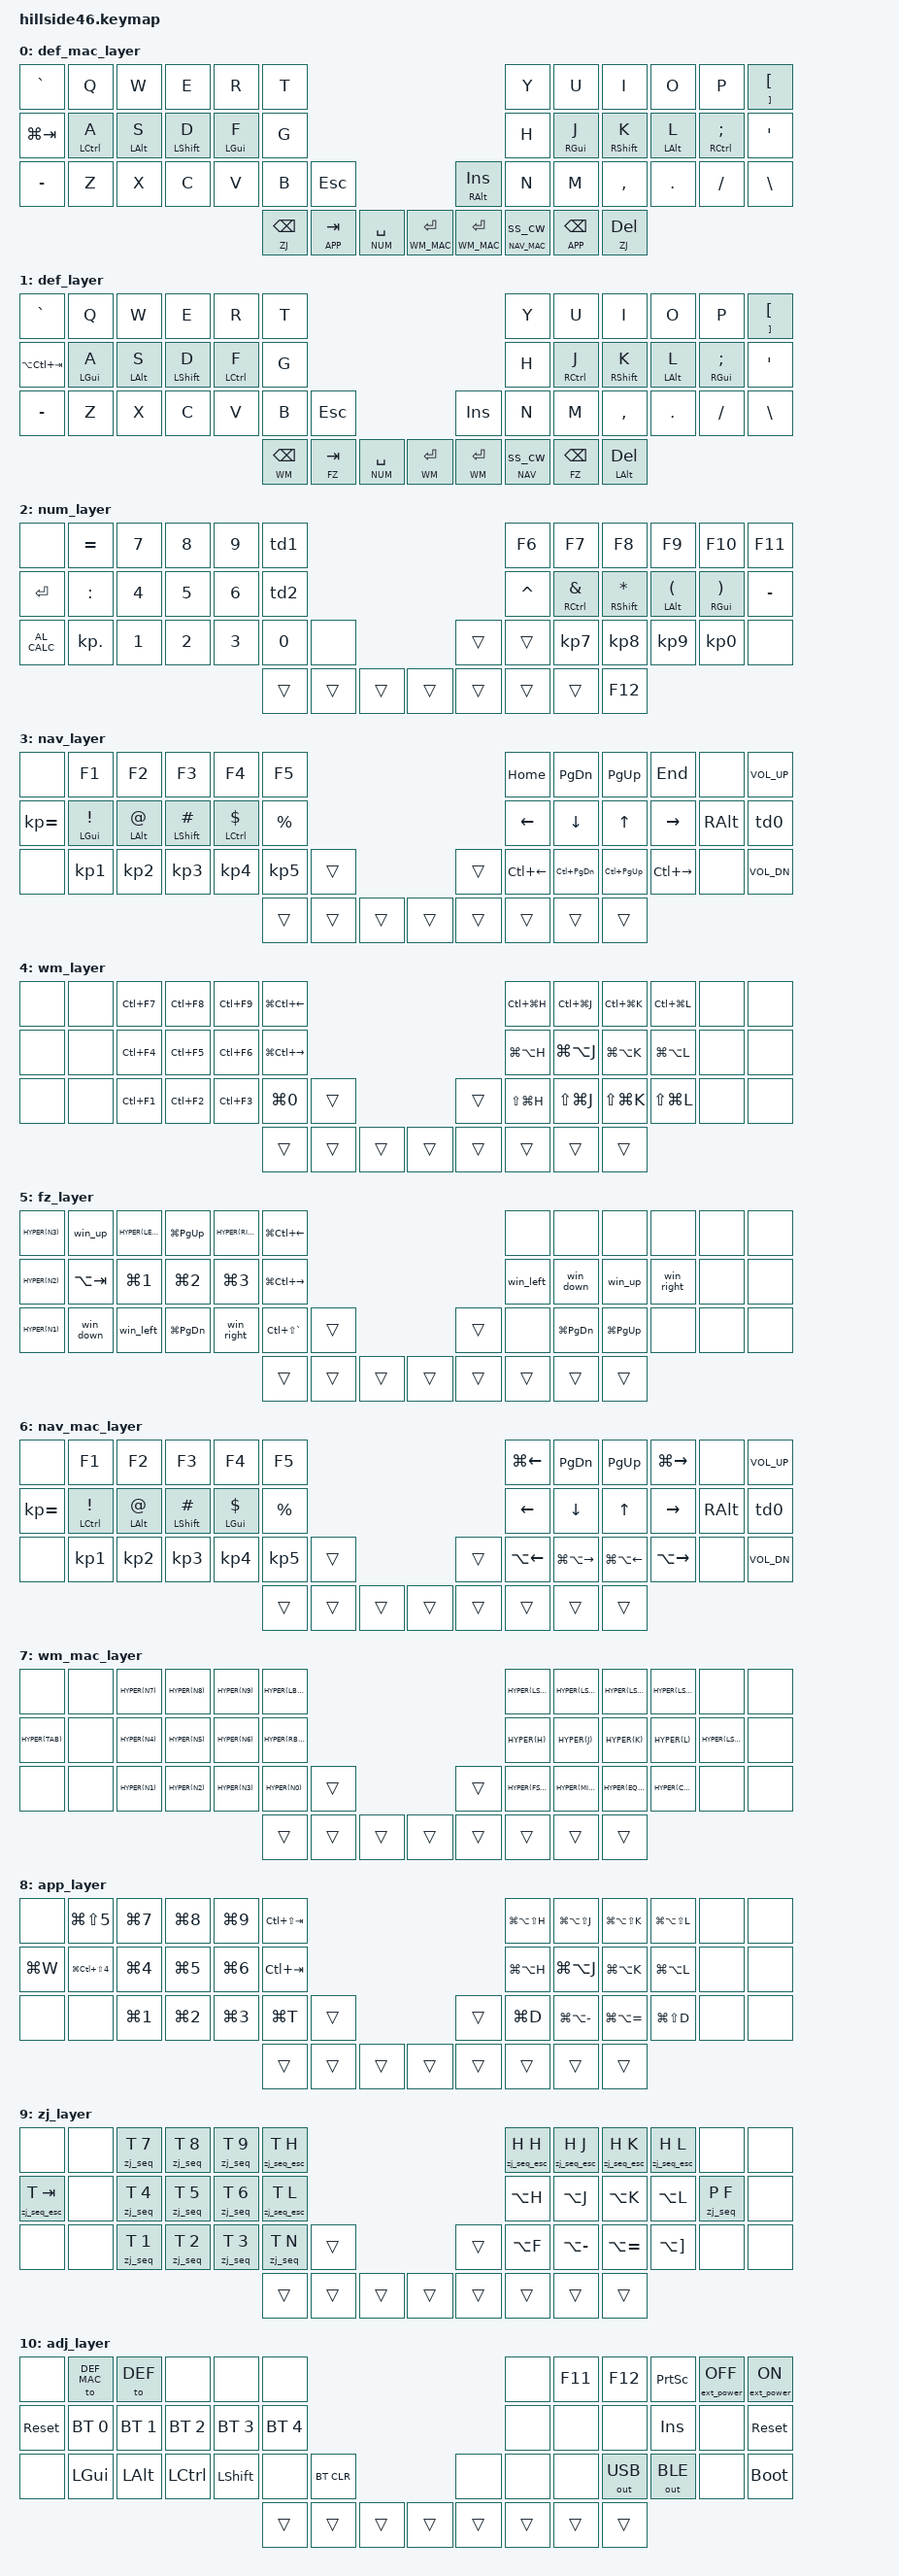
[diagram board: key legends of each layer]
/*
 * Copyright (c) 2021-2022 The ZMK Contributors
 *
 * SPDX-License-Identifier: MIT
 */

#include <behaviors.dtsi>
#include <dt-bindings/zmk/bt.h>
#include <dt-bindings/zmk/ext_power.h>
#include <dt-bindings/zmk/keys.h>
#include <dt-bindings/zmk/outputs.h>

// layer shortcuts, must match order in which they are defined below
// bases (DEF_MAC, DEF) are lowest so momentary/overlay layers stack above them;
// ADJ is highest so it shows above NAV_MAC when reached via NUM+NAV_MAC.
// DEF_MAC is layer 0 so the keyboard boots into mac mode by default.
#define DEF_MAC 0
#define DEF 1
#define NUM 2
#define NAV 3
#define WM 4
#define FZ 5
#define NAV_MAC 6
#define WM_MAC 7
#define APP 8
#define ZJ 9
#define ADJ 10

#define Undo   LC(Z)
#define Redo   LC(Y)
#define Cut    LS(DEL)
#define Copy   LC(INS)
#define Paste  LS(INS)

/* Hyper = Ctrl+Opt+Cmd (mac AeroSpace) / Ctrl+Alt+Win (FancyZones) - same three mods.
 * Use HYPER(key) instead of spelling LC(LA(LG(key))) by hand. */
#define HYPER(k) LC(LA(LG(k)))

#define XXX &none
#define ___ &trans

/* Settings */
#define QUICK_TAP_MS 175

#include "combos.dtsi"

&mt {
    flavor = "balanced";
};
&sk {
    quick-release;
};
&caps_word {
    // Allow caps word to continue even when minus, delete, left or underscore are pressed.
    continue-list = <UNDERSCORE MINUS BACKSPACE DELETE LEFT>;
};

/ {
        conditional_layers {
            compatible = "zmk,conditional-layers";
            tri_layer {
                if-layers = <2 3>;
                then-layer = <10>;
            };
            // mac: NUM + NAV_MAC also reaches ADJ
            tri_layer_mac {
                if-layers = <2 6>;
                then-layer = <10>;
            };
        };
        behaviors {
                td0: td_ply_nxt {
                        compatible = "zmk,behavior-tap-dance";
                        label = "TD_PLY_NXT";
                        #binding-cells = <0>;
                        tapping-term-ms = <280>;
                        bindings = <&kp C_PLAY_PAUSE>, <&kp C_NEXT>, <&kp C_PREV>;
                };
                td1: td_mns_sls {
                        compatible = "zmk,behavior-tap-dance";
                        label = "TD_MNS_SLS";
                        #binding-cells = <0>;
                        tapping-term-ms = <200>;
                        bindings = <&kp KP_MINUS>, <&kp KP_SLASH>;
                };
                td2: td_pls_ast {
                        compatible = "zmk,behavior-tap-dance";
                        label = "TD_PLS_AST";
                        #binding-cells = <0>;
                        tapping-term-ms = <200>;
                        bindings = <&kp KP_PLUS>, <&kp KP_ASTERISK>;
                };
                gresc: grave_escape {
                        compatible = "zmk,behavior-mod-morph";
                        label = "GRAVE_ESCAPE";
                        #binding-cells = <0>;
                        bindings = <&kp ESC>, <&kp GRAVE>;
                        mods = <(MOD_LSFT|MOD_RSFT)>;
                        keep-mods = <MOD_RSFT>;
                };
                // Home-row mods, positional ("Miryoku/urob" style): split into a
                // left- and right-hand variant so each only triggers its hold when
                // the *next* key is on the OPPOSITE hand (hold-trigger-key-positions).
                // hold-trigger-on-release lets same-hand mods chain when the next key
                // is held. Same-hand mod+key (e.g. left-hand Cmd+C) still works via
                // the timeout path: hold the mod alone past tapping-term, then press.
                // Positions (Hillside46, 46 keys, numbered by keymap order from 0):
                //   left  hand: 0-5, 12-17, 24-30   right hand: 6-11, 18-23, 31-37   thumbs: 38-45
                hml: homerow_mod_left {
                        compatible = "zmk,behavior-hold-tap";
                        label = "HRM_LEFT";
                        #binding-cells = <2>;
                        flavor = "balanced";
                        tapping-term-ms = <200>;
                        quick-tap-ms = <QUICK_TAP_MS>;
                        global-quick-tap;
                        hold-trigger-key-positions = <6 7 8 9 10 11 18 19 20 21 22 23 31 32 33 34 35 36 37 38 39 40 41 42 43 44 45>;
                        hold-trigger-on-release;
                        bindings = <&kp>, <&kp>;
                };
                hmr: homerow_mod_right {
                        compatible = "zmk,behavior-hold-tap";
                        label = "HRM_RIGHT";
                        #binding-cells = <2>;
                        flavor = "balanced";
                        tapping-term-ms = <200>;
                        quick-tap-ms = <QUICK_TAP_MS>;
                        global-quick-tap;
                        hold-trigger-key-positions = <0 1 2 3 4 5 12 13 14 15 16 17 24 25 26 27 28 29 30 38 39 40 41 42 43 44 45>;
                        hold-trigger-on-release;
                        bindings = <&kp>, <&kp>;
                };
                // tap: sticky-shift | shift + tap / double-tap: caps-word | hold: shift
                ss_cw: capsword {
                        compatible = "zmk,behavior-mod-morph";
                        label = "CAPSWORD";
                        #binding-cells = <0>;
                        bindings = <&sk LSHFT>, <&caps_word>;
                        mods = <(MOD_LSFT)>;
                };
                cw_ht: behavior_mo_cw {
                    compatible = "zmk,behavior-hold-tap";
                        label = "cw_ht";
                        #binding-cells = <2>;
                        flavor = "hold-preferred";
                        tapping-term-ms = <200>;
                        bindings = <&mo>, <&ss_cw>;
                };           
        };
        macros {
                win_left: win_left_macro {
                        compatible = "zmk,behavior-macro";
                        #binding-cells = <0>;
                        bindings = <&macro_press &kp LGUI>, <&macro_tap &kp LEFT>, <&macro_release &kp LGUI>;
                };
                win_right: win_right_macro {
                        compatible = "zmk,behavior-macro";
                        #binding-cells = <0>;
                        bindings = <&macro_press &kp LGUI>, <&macro_tap &kp RIGHT>, <&macro_release &kp LGUI>;
                };
                win_up: win_up_macro {
                        compatible = "zmk,behavior-macro";
                        #binding-cells = <0>;
                        bindings = <&macro_press &kp LGUI>, <&macro_tap &kp UP>, <&macro_release &kp LGUI>;
                };
                win_down: win_down_macro {
                        compatible = "zmk,behavior-macro";
                        #binding-cells = <0>;
                        bindings = <&macro_press &kp LGUI>, <&macro_tap &kp DOWN>, <&macro_release &kp LGUI>;
                };
                /* zellij mode sequence: hold Ctrl, tap M (mode key), release Ctrl, tap K (action).
                 * For zellij binds that auto-return to normal mode (GoToTab N, NewTab, fullscreen). */
                zj_seq: zj_seq_macro {
                        compatible = "zmk,behavior-macro-two-param";
                        #binding-cells = <2>;
                        bindings = <&macro_press &kp LCTRL>,
                                   <&macro_param_1to1>, <&macro_tap &kp MACRO_PLACEHOLDER>,
                                   <&macro_release &kp LCTRL>,
                                   <&macro_param_2to1>, <&macro_tap &kp MACRO_PLACEHOLDER>;
                };
                /* Same, plus trailing Esc — for zellij binds that stay in the mode
                 * (tab prev/next/toggle, move pane). */
                zj_seq_esc: zj_seq_esc_macro {
                        compatible = "zmk,behavior-macro-two-param";
                        #binding-cells = <2>;
                        bindings = <&macro_press &kp LCTRL>,
                                   <&macro_param_1to1>, <&macro_tap &kp MACRO_PLACEHOLDER>,
                                   <&macro_release &kp LCTRL>,
                                   <&macro_param_2to1>, <&macro_tap &kp MACRO_PLACEHOLDER>,
                                   <&macro_tap &kp ESC>;
                };
        };


        keymap {
                compatible = "zmk,keymap";

                def_mac_layer {
/* QWERTY macOS (boot default, layer 0) | G-Tab=Cmd+Tab (switch to last app; tap toggles 2 most recent)
 * thumbs left: ZJ/BSPC (zellij, leftmost) · APP/TAB (app tabs+splits) · NUM · WM_MAC (window mgmt)
 * thumbs right: WM_MAC · NAV_MAC · APP/BSPC (app, mirror) · ZJ/DEL (zellij, mirror)
 * HRM mac (Cmd<->Ctrl swapped vs Win): A=Ctrl S=Opt D=Shift F=Cmd  /  J=Cmd K=Shift L=Opt ;=Ctrl  (Cmd on index, Ctrl on pinky)
 * -------------------------------------------------------------------------------------------------------------------------------------
 * |  `    |   Q   |   W   |   E   |   R   |   T   |-----------------------------------|   Y   |   U   |   I   |   O   |   P   |  [/]  |
 * | G-Tab |   A   |   S   |   D   |   F   |   G   |-----------------------------------|   H   |   J   |   K   |   L   |   ;   |   '   |
 * |   -   |   Z   |   X   |   C   |   V   |   B   |  ESC  |-------------------|RA/INS |   N   |   M   |   ,   |   .   |   /   |   \   |
 *                                 |ZJ/BSPC|APP/TAB|NUM/SPC|WM/ENT |WM/ENT |NAV/CW |APP/BSP|ZJ/DEL |
 */
                        bindings = <
&kp GRAVE      &kp Q &kp W &kp E &kp R &kp T &kp Y                                                    &kp U   &kp I  &kp O   &kp P    &mt RBKT LBKT
&kp LG(TAB)    &hml LCTRL A &hml LALT S &hml LSHIFT D &hml LGUI F  &kp G                              &kp H  &hmr RGUI J &hmr RSHIFT K &hmr LALT L &hmr RCTRL SEMI &kp SQT
&kp MINUS      &kp Z &kp X &kp C &kp V &kp B   &kp ESC                               &mt RALT INSERT  &kp N  &kp M  &kp COMMA    &kp DOT &kp FSLH &kp BSLH
                                &lt ZJ BSPC &lt APP TAB &lt NUM SPACE &lt WM_MAC RETURN     &lt WM_MAC RETURN &cw_ht NAV_MAC 0 &lt APP BSPC &lt ZJ DEL
                        >;
                };

                def_layer {
/* QWERTY Win/Lin (layer 1, must be reached via ADJ) - HRM on ASDF/JKL; | AC-Tab=Alt+Ctrl+Tab | [/]=tap:[, hold:] | thumb: hold=layer, tap=key
 * -------------------------------------------------------------------------------------------------------------------------------------
 * |  `    |   Q   |   W   |   E   |   R   |   T   |-----------------------------------|   Y   |   U   |   I   |   O   |   P   |  [/]  |
 * |AC-Tab |   A   |   S   |   D   |   F   |   G   |-----------------------------------|   H   |   J   |   K   |   L   |   ;   |   '   |
 * |   -   |   Z   |   X   |   C   |   V   |   B   |  ESC  |-------------------|  INS  |   N   |   M   |   ,   |   .   |   /   |   \   |
 *                                 |WM/BSPC|FZ/TAB |NUM/SPC|WM/ENT |WM/ENT |NAV/CW |FZ/BSPC| A/DEL |
 */
                        bindings = <
&kp GRAVE      &kp Q &kp W &kp E &kp R &kp T &kp Y                                                    &kp U   &kp I  &kp O   &kp P    &mt RBKT LBKT
&kp LA(LC(TAB)) &hml LGUI A &hml LALT S &hml LSHIFT D &hml LCTRL F  &kp G                             &kp H  &hmr RCTRL J &hmr RSHIFT K &hmr LALT L &hmr RGUI SEMI &kp SQT
&kp MINUS      &kp Z &kp X &kp C &kp V &kp B   &kp ESC                                   &kp INSERT  &kp N  &kp M  &kp COMMA    &kp DOT &kp FSLH &kp BSLH
                                &lt WM BSPC &lt FZ TAB &lt NUM SPACE &lt WM RETURN     &lt WM RETURN &cw_ht NAV 0 &lt FZ BSPC &mt LALT DEL
                        >;
                };

                num_layer {
/* NUM - left: numpad 789/456/123 | right: symbols ^&*() and F6-F11 | -/ and +* are tap-dance
 * -------------------------------------------------------------------------------------------------------------------------------------
 * |       |   =   |   7   |   8   |   9   |  - /  |-----------------------------------|  F6   |  F7   |  F8   |  F9   |  F10  |  F11  |
 * | ENTER |   :   |   4   |   5   |   6   |  + *  |-----------------------------------|   ^   |   &   |   *   |   (   |   )   |   -   |
 * | CALC  |  KP.  |   1   |   2   |   3   |   0   |       |-------------------|       |       |  KP7  |  KP8  |  KP9  |  KP0  |       |
 *                                 |       |       |       |       |---|       |       |       |  F12  |
 */
                        bindings = <
XXX             &kp EQUAL  &kp N7 &kp N8 &kp N9 &td1 &kp F6                 &kp F7   &kp F8   &kp F9   &kp F10  &kp F11
&kp ENTER        &kp COLON  &kp N4 &kp N5 &kp N6 &td2                        &kp CARET   &hmr RCTRL AMPS &hmr RSHIFT STAR &hmr LALT LPAR &hmr RGUI RPAR &kp MINUS
&kp C_AL_CALC   &kp KP_DOT &kp N1 &kp N2 &kp N3 &kp N0 XXX              ___ ___    &kp KP_N7   &kp KP_N8   &kp KP_N9   &kp KP_N0   XXX
                                                ___ ___ ___ ___     ___ ___ ___ &kp F12 
                        >;
                };

                nav_layer {
/* NAV - left: F1-F5 top, symbols !@#$% home row, KP1-5 bottom | right: nav arrows, C=Ctrl+nav, volume
 * -------------------------------------------------------------------------------------------------------------------------------------
 * |       |  F1   |  F2   |  F3   |  F4   |  F5   |-----------------------------------| HOME  | PG_DN | PG_UP |  END  |       | VOL+  |
 * |  KP=  |   !   |   @   |   #   |   $   |   %   |-----------------------------------| LEFT  | DOWN  |  UP   | RIGHT | RALT  |PL/NXT |
 * |       |  KP1  |  KP2  |  KP3  |  KP4  |  KP5  |       |-------------------|       |  C-<- | C-PgD | C-PgU |  C->  |       | VOL-  |
 *                                 |       |       |       |       |---|       |       |       |       |
 */
                        bindings = <
XXX            &kp F1      &kp F2 &kp F3   &kp F4      &kp F5                                   &kp HOME      &kp PG_DN        &kp PG_UP       &kp END       XXX             &kp C_VOL_UP
&kp KP_EQUAL   &hml LGUI EXCL  &hml LALT AT &hml LSHIFT HASH &hml LCTRL DLLR  &kp PRCNT          &kp LEFT      &kp DOWN     &kp UP          &kp RIGHT       &kp RALT        &td0
XXX         &kp KP_N1   &kp KP_N2 &kp KP_N3 &kp KP_N4 &kp KP_N5  ___                        ___  &kp LC(LEFT)  &kp LC(PG_DN)    &kp LC(PG_UP)   &kp LC(RIGHT)   XXX             &kp C_VOL_DN
                                                        ___ ___ ___ ___                 ___ ___ ___ ___
                        >;
                };

                wm_layer {
/* WM (Win/Lin window management) - G=Win+1..9 numpad left | GC=Win+Ctrl | GA=Win+Alt | GS=Win+Shift on HJKL right
 * -------------------------------------------------------------------------------------------------------------------------------------
 * |       |       |  C-7  |  C-8  |  C-9  | GC-<- |-----------------------------------| GC-H  | GC-J  | GC-K  | GC-L  |       |       |
 * |       |       |  C-4  |  C-5  |  C-6  | GC->  |-----------------------------------| GA-H  | GA-J  | GA-K  | GA-L  |       |       |
 * |       |       |  C-1  |  C-2  |  C-3  |  G-0  |       |-------------------|       | GS-H  | GS-J  | GS-K  | GS-L  |       |       |
 *                                 |       |       |       |       |---|       |       |       |       |
 */
                        bindings = <
XXX     XXX &kp LC(F7) &kp LC(F8) &kp LC(F9) &kp LG(LC(LEFT))                            &kp LC(LG(H)) &kp LC(LG(J)) &kp LC(LG(K)) &kp LC(LG(L)) XXX XXX
XXX     XXX &kp LC(F4) &kp LC(F5) &kp LC(F6) &kp LG(LC(RIGHT))                           &kp LG(LA(H)) &kp LG(LA(J)) &kp LG(LA(K)) &kp LG(LA(L)) XXX XXX
XXX     XXX &kp LC(F1) &kp LC(F2) &kp LC(F3) &kp LG(N0) ___                          ___ &kp LS(LG(H)) &kp LS(LG(J)) &kp LS(LG(K)) &kp LS(LG(L)) XXX XXX
                                                ___ ___ ___ ___              ___ ___ ___ ___
                        >;
                };

                fz_layer {
/* FZ (FancyZones) - G=Win snap, GAC=Win+Alt+Ctrl FancyZones layouts, GC=Win+Ctrl desktops, SC=Shift+Ctrl
 * -------------------------------------------------------------------------------------------------------------------------------------
 * | GAC-3 | G-UP  |GAC-<- | G-PgU | GAC-> | GC-<- |-----------------------------------|       |       |       |       |       |       |
 * | GAC-2 | A-Tab |  G-1  |  G-2  |  G-3  | GC->  |-----------------------------------| G-<-  | G-DN  | G-UP  |  G->  |       |       |
 * | GAC-1 | G-DN  | G-<-  | G-PgD |  G->  | SC-`  |       |-------------------|       |       | G-PgD | G-PgU |       |       |       |
 *                                 |       |       |       |       |---|       |       |       |       |
 */
                        bindings = <
&kp HYPER(N3)           &win_up       &kp HYPER(LEFT)          &kp LG(PG_UP)   &kp HYPER(RIGHT)        &kp LG(LC(LEFT))                                        XXX XXX XXX XXX XXX XXX
&kp HYPER(N2)           &kp LA(TAB)   &kp LG(N1)               &kp LG(N2)      &kp LG(N3)              &kp LG(LC(RIGHT))                                       &win_left &win_down  &win_up &win_right XXX XXX
&kp HYPER(N1)           &win_down     &win_left                &kp LG(PG_DN)   &win_right        &kp LC(LS(GRAVE)) ___                           ___    XXX &kp LG(PG_DN) &kp LG(PG_UP) XXX XXX XXX
                                                                                                                        ___ ___ ___ ___                   ___ ___ ___ ___
                        >;
                };

                nav_mac_layer {
/* NAV macOS - copy of NAV | bottom-right: A-<-/A-> word nav (Option), GA-tab = Cmd+Opt+arrow tab switch (universal: Firefox/Chrome/VSCode native, Ghostty via config)
 * top-right: G-<-/G-> = Cmd+arrow line start/end (HOME/END are unreliable on mac: scroll-to-document in Cocoa apps, line nav elsewhere)
 * -------------------------------------------------------------------------------------------------------------------------------------
 * |       |  F1   |  F2   |  F3   |  F4   |  F5   |-----------------------------------| G-<-  | PG_DN | PG_UP | G->   |       | VOL+  |
 * |  KP=  |   !   |   @   |   #   |   $   |   %   |-----------------------------------| LEFT  | DOWN  |  UP   | RIGHT | RALT  |PL/NXT |
 * |       |  KP1  |  KP2  |  KP3  |  KP4  |  KP5  |       |-------------------|       |  A-<- | GA->  | GA-<- |  A->  |       | VOL-  |
 *                                 |       |       |       |       |---|       |       |       |       |
 * HRM left home row mac (Cmd<->Ctrl swapped vs Win): pos A/!=Ctrl, F/$=Cmd
 */
                        bindings = <
XXX            &kp F1      &kp F2 &kp F3   &kp F4      &kp F5                                   &kp LG(LEFT)  &kp PG_DN        &kp PG_UP       &kp LG(RIGHT) XXX             &kp C_VOL_UP
&kp KP_EQUAL   &hml LCTRL EXCL  &hml LALT AT &hml LSHIFT HASH &hml LGUI DLLR  &kp PRCNT          &kp LEFT      &kp DOWN     &kp UP          &kp RIGHT       &kp RALT        &td0
XXX         &kp KP_N1   &kp KP_N2 &kp KP_N3 &kp KP_N4 &kp KP_N5  ___                        ___  &kp LA(LEFT)  &kp LG(LA(RIGHT)) &kp LG(LA(LEFT)) &kp LA(RIGHT) XXX             &kp C_VOL_DN
                                                        ___ ___ ___ ___                 ___ ___ ___ ___
                        >;
                };

                wm_mac_layer {
/* WM_MAC (macOS window management) - AeroSpace control via Hyper (GAC = Ctrl+Opt+Cmd) chords
 * left: workspaces 1-9 numpad aligned with NUM layer's digits | H-Tab back-and-forth (over Cmd+Tab) | T/G/B = H-[ prev / H-] next / H-0 workspace 0
 * right: focus on home row (H-HJKL) | move above home row (Y/U/I/O = HS-HJKL) | resize M/, = H-- / H-= | layout: N = tiles (H-/), . = accordion (H-,) | ; (pinky) = HS-; -> AeroSpace service mode
 * -------------------------------------------------------------------------------------------------------------------------------------
 * |       |       |  H-7  |  H-8  |  H-9  |  H-[  |-----------------------------------| HS-H  | HS-J  | HS-K  | HS-L  |       |       |
 * | H-Tab |       |  H-4  |  H-5  |  H-6  |  H-]  |-----------------------------------|  H-H  |  H-J  |  H-K  |  H-L  | HS-;  |       |
 * |       |       |  H-1  |  H-2  |  H-3  |  H-0  |       |-------------------|       |  H-/  |  H--  |  H-=  |  H-,  |       |       |
 *                                 |       |       |       |       |---|       |       |       |       |
 */
                        bindings = <
XXX                  XXX  &kp HYPER(N7)  &kp HYPER(N8)  &kp HYPER(N9)  &kp HYPER(LBKT)                                  &kp HYPER(LS(H))  &kp HYPER(LS(J))  &kp HYPER(LS(K))  &kp HYPER(LS(L))  XXX XXX
&kp HYPER(TAB)       XXX  &kp HYPER(N4)  &kp HYPER(N5)  &kp HYPER(N6)  &kp HYPER(RBKT)                                  &kp HYPER(H)      &kp HYPER(J)      &kp HYPER(K)      &kp HYPER(L)      &kp HYPER(LS(SEMI)) XXX
XXX                  XXX  &kp HYPER(N1)  &kp HYPER(N2)  &kp HYPER(N3)  &kp HYPER(N0)  ___                          ___  &kp HYPER(FSLH)   &kp HYPER(MINUS)  &kp HYPER(EQUAL)  &kp HYPER(COMMA)  XXX XXX
                                                                                                  ___ ___ ___ ___                          ___ ___ ___ ___
                        >;
                };

                app_layer {
/* APP (app-level tabs + splits) - hold APP/TAB (2nd-from-edge left thumb) on DEF_MAC; mirrors WM_MAC/ZJ.
 * No app config edits except Obsidian (4 focus binds). Chords chosen to hit all 5 target apps:
 *   tabs: Cmd+1..9 go-to (FF/Linear/Obsidian/kitty), C-S-Tab/C-Tab prev/next (all 5), Cmd+T/Cmd+W new/close.
 *   splits (kitty always; Obsidian focus after binds): GA-hjkl focus, GAS-hjkl move,
 *     GA--/GA-= resize, G-D/GS-D v/h-split — all match the user's kitty.conf (Cmd+Opt = GA).
 * pinky col (Q/A/Z): GS-5 = Cmd+Shift+5 screenshot UI | GSC-4 = Cmd+Ctrl+Shift+4 region->clipboard (no file).
 * left: tabs 1-9 numpad aligned with NUM digits | G-W close (G-Tab slot) | T/G = prev/next | B = new tab
 * right: focus home row GA-hjkl | move Y/U/I/O = GAS-hjkl | resize M/, = GA--/GA-= | N/. = G-D/GS-D
 * NOTE: GA-H (Cmd+Opt+H) is macOS "Hide Others" globally — only press APP hjkl while kitty/Obsidian is focused.
 * -------------------------------------------------------------------------------------------------------------------------------------
 * |       | GS-5  | G-7   | G-8   | G-9   | CS-Tab |----------------------------------| GAS-H | GAS-J | GAS-K | GAS-L |       |       |
 * | G-W   | GSC-4 | G-4   | G-5   | G-6   | C-Tab  |----------------------------------|  GA-H |  GA-J |  GA-K |  GA-L |       |       |
 * |       |       | G-1   | G-2   | G-3   | G-T    |       |-------------------|       |  G-D  |  GA-- |  GA-= |  GS-D |       |       |
 *                                 |       |       |       |       |---|       |       |       |       |
 */
                        bindings = <
XXX          &kp LG(LS(N5))       &kp LG(N7)  &kp LG(N8)  &kp LG(N9)  &kp LC(LS(TAB))                                  &kp LG(LA(LS(H)))  &kp LG(LA(LS(J)))  &kp LG(LA(LS(K)))  &kp LG(LA(LS(L)))  XXX  XXX
&kp LG(W)    &kp LG(LC(LS(N4)))   &kp LG(N4)  &kp LG(N5)  &kp LG(N6)  &kp LC(TAB)                                      &kp LG(LA(H))      &kp LG(LA(J))      &kp LG(LA(K))      &kp LG(LA(L))      XXX  XXX
XXX          XXX                  &kp LG(N1)  &kp LG(N2)  &kp LG(N3)  &kp LG(T)  ___                            ___    &kp LG(D)          &kp LG(LA(MINUS))  &kp LG(LA(EQUAL))  &kp LG(LS(D))      XXX  XXX
                                                                                       ___ ___ ___ ___                          ___ ___ ___ ___
                        >;
                };

                zj_layer {
/* ZJ (zellij) - hold ZJ/BSPC (leftmost-left) or ZJ/DEL (rightmost-right) thumb on DEF_MAC; mirrors WM_MAC.
 * Zellij config untouched: layer drives existing binds — direct Alt-chords from normal mode
 * (A-hjkl focus, A--/A-= resize, A-f floating, A-] next layout) plus mode sequences via
 * zj_seq(M,K) = Ctrl+M, K (binds that auto-return to normal) and zj_seq_esc (binds that stay
 * in mode: tab prev/next/toggle, move pane — trailing Esc exits).
 * left: tabs 1-9 numpad aligned with NUM digits | lastT (G-Tab slot) = C-t,Tab toggle last tab |
 *       T/G = prev/next tab (C-t,h / C-t,l) | B = new tab (C-t,n)
 * right: focus home row A-hjkl | move pane Y/U/I/O = C-h,hjkl | resize M/, = A--/A-= |
 *        N = floating A-f, . = next layout A-] | ; (pinky) = fullscreen C-p,f
 * -------------------------------------------------------------------------------------------------------------------------------------
 * |       |       | tab 7 | tab 8 | tab 9 | prevT |-----------------------------------| MOV-h | MOV-j | MOV-k | MOV-l |       |       |
 * | lastT |       | tab 4 | tab 5 | tab 6 | nextT |-----------------------------------|  A-h  |  A-j  |  A-k  |  A-l  | fulls |       |
 * |       |       | tab 1 | tab 2 | tab 3 | newT  |       |-------------------|       |  A-f  |  A--  |  A-=  |  A-]  |       |       |
 *                                 |       |       |       |       |---|       |       |       |       |
 */
                        bindings = <
XXX                XXX  &zj_seq T N7  &zj_seq T N8  &zj_seq T N9  &zj_seq_esc T H                                  &zj_seq_esc H H  &zj_seq_esc H J  &zj_seq_esc H K  &zj_seq_esc H L  XXX          XXX
&zj_seq_esc T TAB  XXX  &zj_seq T N4  &zj_seq T N5  &zj_seq T N6  &zj_seq_esc T L                                  &kp LA(H)        &kp LA(J)        &kp LA(K)        &kp LA(L)        &zj_seq P F  XXX
XXX                XXX  &zj_seq T N1  &zj_seq T N2  &zj_seq T N3  &zj_seq T N  ___                            ___  &kp LA(F)        &kp LA(MINUS)    &kp LA(EQUAL)    &kp LA(RBKT)     XXX          XXX
                                                                                       ___ ___ ___ ___                          ___ ___ ___ ___
                        >;
                };

                adj_layer {
/* ADJUST - active when NUM+NAV held simultaneously | MAC/WIN switch OS base layer
 * Column 2 (MAC / BT 0) is the boot default — mac base lives on the first BT slot.
 * -------------------------------------------------------------------------------------------------------------------------------------
 * |       |  MAC  |  WIN  |       |       |       |-----------------------------------|       |  F11  |  F12  |PrtScr |EP_OFF | EP_ON |
 * | RESET | BT 0  | BT 1  | BT 2  | BT 3  | BT 4  |-----------------------------------|       |       |       |  INS  |       | RESET |
 * |       | LGUI  | LALT  | LCTRL | LSHIFT|       |BT CLR |-------------------|       |       |       |OUT_USB|OUT_BLE|       | BOOTL |
 *                                 |       |       |       |       |---|       |       |       |       |
 */
                        bindings = <
&none         &to DEF_MAC &to DEF &none &none         &none                                                                               &none       &kp   F11       &kp   F12        &kp PRINTSCREEN   &ext_power EP_OFF  &ext_power EP_ON
&sys_reset    &bt  BT_SEL 0 &bt  BT_SEL 1 &bt  BT_SEL 2 &bt  BT_SEL 3 &bt  BT_SEL 4                                                       &none       &none           &none            &kp INS           &none           &sys_reset
&none         &kp  LGUI     &kp  LALT     &kp  LCTRL    &kp LSHIFT    &none         &bt BT_CLR                             &none      &none       &none           &out  OUT_USB    &out  OUT_BLE  &none           &bootloader
                                                        &trans        &trans        &trans        &trans         &trans    &trans     &trans      &trans 
                        >;
                };
        };
};
